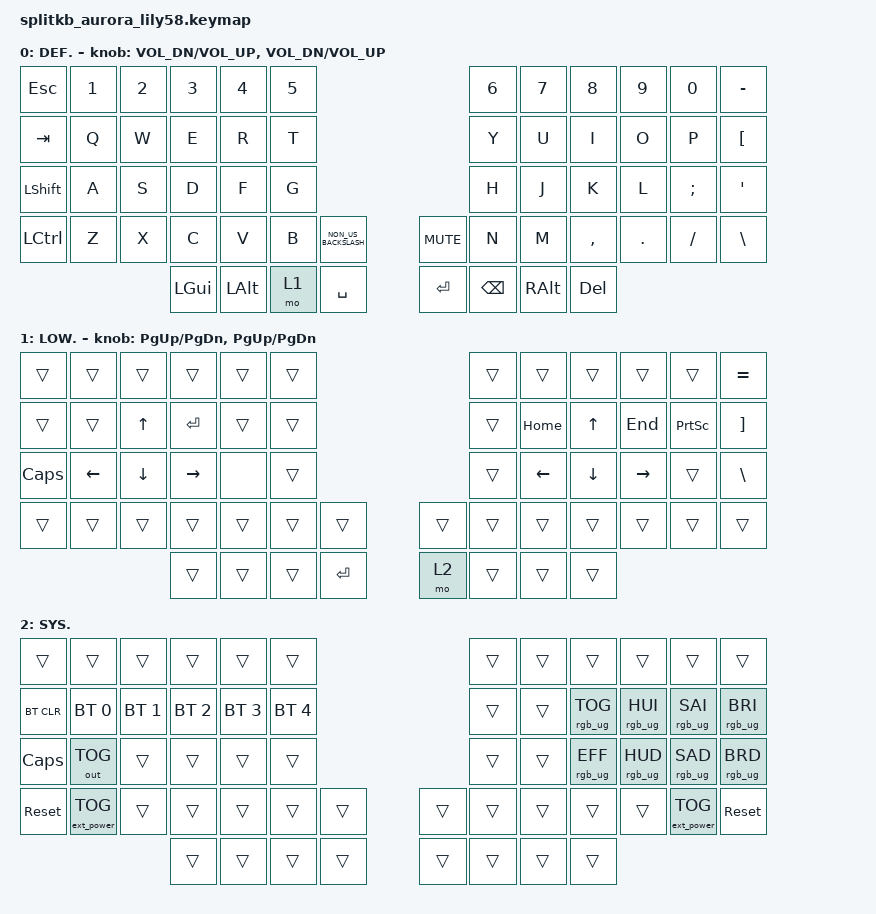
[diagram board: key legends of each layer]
/*
 * Copyright (c) 2022 The ZMK Contributors
 *
 * SPDX-License-Identifier: MIT
 */

#include <behaviors.dtsi>
#include <dt-bindings/zmk/keys.h>
#include <dt-bindings/zmk/bt.h>
#include <dt-bindings/zmk/ext_power.h>
#include <dt-bindings/zmk/rgb.h>
#include <dt-bindings/zmk/outputs.h>

&led_strip {
    chain-length = <40>;
};

&sensors {
    triggers-per-rotation = <40>;
};

&nice_view_spi {
    cs-gpios = <&pro_micro 0 GPIO_ACTIVE_HIGH>;  // use D0 for CS
};

/ {
    combos {
        compatible = "zmk,combos";
        
        // F-key combos - F+number on lower layer
        combo_f1 {
            timeout-ms = <200>;
            key-positions = <28 1>;  // F key + 1 key positions
            bindings = <&kp F1>;
            layers = <1>;
        };
        combo_f2 {
            timeout-ms = <200>;
            key-positions = <28 2>;  // F key + 2 key positions
            bindings = <&kp F2>;
            layers = <1>;
        };
        combo_f3 {
            timeout-ms = <200>;
            key-positions = <28 3>;  // F key + 3 key positions
            bindings = <&kp F3>;
            layers = <1>;
        };
        combo_f4 {
            timeout-ms = <200>;
            key-positions = <28 4>;  // F key + 4 key positions
            bindings = <&kp F4>;
            layers = <1>;
        };
        combo_f5 {
            timeout-ms = <200>;
            key-positions = <28 5>;  // F key + 5 key positions
            bindings = <&kp F5>;
            layers = <1>;
        };
        combo_f6 {
            timeout-ms = <200>;
            key-positions = <28 6>;  // F key + 6 key positions
            bindings = <&kp F6>;
            layers = <1>;
        };
        combo_f7 {
            timeout-ms = <200>;
            key-positions = <28 7>;  // F key + 7 key positions
            bindings = <&kp F7>;
            layers = <1>;
        };
        combo_f8 {
            timeout-ms = <200>;
            key-positions = <28 8>;  // F key + 8 key positions
            bindings = <&kp F8>;
            layers = <1>;
        };
        combo_f9 {
            timeout-ms = <200>;
            key-positions = <28 9>;  // F key + 9 key positions
            bindings = <&kp F9>;
            layers = <1>;
        };
        combo_f10 {
            timeout-ms = <200>;
            key-positions = <28 10>;  // F key + 0 key positions
            bindings = <&kp F10>;
            layers = <1>;
        };
        combo_f11 {
            timeout-ms = <200>;
            key-positions = <28 11>;  // F key + - key positions
            bindings = <&kp F11>;
            layers = <1>;
        };
        combo_f12 {
            timeout-ms = <200>;
            key-positions = <28 0>;  // F key + = key positions
            bindings = <&kp F12>;
            layers = <1>;
        };
    };

    keymap {
        compatible = "zmk,keymap";

            // ---------------------------------------------------------------------------------------------------------------------
            // |  ESC    |  1  |  2  |  3   |  4   |  5      |                     |  6   |  7    |  8    |  9   |  0    |   -     | 
            // |  TAB    |  Q  |  W  |  E   |  R   |  T      |                     |  Y   |  U    |  I    |  O   |   P   |   {     |
            // |  SHIFT  |  A  |  S  |  D   |  F   |  G      |                     |  H   |  J    |  K    |  L   |   ;   |   '     |
            // |  CTRL   |  Z  |  X   |  C  |  V   |  B      |   \    | - | C_MUTE |  N   |  M    |  ,    |  .   |   /   |   \     |
            //  ---------------------| GUI  |  ALT |  LAYER  |  SPACE | - | ENTER  | BSPC |  RALT | DEL   |-------------------------
        //                           ---------------------------------------------------------------------

        default_layer {
            display-name = "DEF.";
            bindings = <             
                &kp ESC     &kp N1       &kp N2     &kp N3     &kp N4     &kp N5                                         &kp N6     &kp N7            &kp N8     &kp N9     &kp N0             &kp MINUS        
                &kp TAB     &kp Q        &kp W      &kp E      &kp R      &kp T                                          &kp Y      &kp U             &kp I      &kp O      &kp P              &kp LBKT
                &kp LSHFT   &kp A        &kp S      &kp D      &kp F      &kp G                                          &kp H      &kp J             &kp K      &kp L      &kp SEMI           &kp SQT
                &kp LCTRL   &kp Z        &kp X      &kp C      &kp V      &kp B   &kp NON_US_BACKSLASH      &kp C_MUTE   &kp N      &kp M             &kp COMMA  &kp DOT    &kp FSLH           &kp BACKSLASH
                                                    &kp LGUI   &kp LALT   &mo 1   &kp SPACE                 &kp RET      &kp BSPC   &kp RIGHT_ALT     &kp DELETE
            >;
            sensor-bindings = <&inc_dec_kp C_VOL_DN C_VOL_UP &inc_dec_kp C_VOL_DN C_VOL_UP>;
        };
        // -------------------------------------------------------------------------------------------------------------------
        // |          |       |       |      |      |      |                     |      |      |      |      |        |   =   |
        // |          |       |   ↑   |ENTER |      |      |                     |      | HOME |   ↑  | END  | PSCRN  |   }   |
        // | CAPSLOCK |    ←  |   ↓   |  →   |      |      |                     |      |   ←  |   ↓  |  →   |        |   \   |
        // |          |       |       |      |      |      |        | - |        |      |      |      |      |        |       |
        //  --------------------------|      |      |      | ENTER  | - | LAYER  |      |      |      |------------------------
        //                            -----------------------------------------------------------------

        function_layer {
            display-name = "LOW.";
            bindings = <
                &trans       &trans      &trans      &trans        &trans         &trans                             &trans     &trans      &trans     &trans      &trans            &kp EQUAL
                &trans       &trans      &kp UP      &kp RET        &trans         &trans                             &trans     &kp HOME    &kp UP     &kp END     &kp PSCRN         &kp RBKT
                &kp CAPSLOCK &kp LEFT    &kp DOWN    &kp RIGHT     &none          &trans                             &trans     &kp LEFT    &kp DOWN   &kp RIGHT   &trans            &kp BACKSLASH
                &trans       &trans      &trans      &trans        &trans         &trans     &trans    &trans        &trans     &trans      &trans     &trans      &trans            &trans
                                                     &trans        &trans         &trans     &kp RET   &mo 2         &trans     &trans      &trans
            >;
            
            sensor-bindings = <&inc_dec_kp PG_UP PG_DN &inc_dec_kp PG_UP PG_DN>;
        };

        // -----------------------------------------------------------------------------------------------------------------
        // |      |       |       |      |      |      |                     |      |      |       |       |        |       |
        // | BTCLR| BT0   |  BT1  |  BT2 |  BT3 | BT4  |                     |      |      |RGB_TOG|RGB_HUI|RGB_SAI |RGB_BRI|
        // |      |OUT_TOG|       |      |      |      |                     |      |      |RGB_EFF|RGB_HUD|RGB_SAD |RGB_BRD|
        // |      |EP_TOG |       |      |      |      |        | - |        |      |      |       |       |EP_TOG  | RESET |
        // |----------------------|      |      |      |        | - |        |      |      |       |------------------------
        //                         -----------------------------------------------------------------
        system_layer {
            display-name = "SYS.";
            bindings = <
                &trans       &trans             &trans        &trans        &trans         &trans                            &trans     &trans    &trans           &trans           &trans            &trans
                &bt BT_CLR   &bt BT_SEL 0       &bt BT_SEL 1  &bt BT_SEL 2  &bt BT_SEL 3   &bt BT_SEL 4                      &trans     &trans    &rgb_ug RGB_TOG  &rgb_ug RGB_HUI  &rgb_ug RGB_SAI   &rgb_ug RGB_BRI
                &kp CAPSLOCK &out OUT_TOG       &trans        &trans        &trans         &trans                            &trans     &trans    &rgb_ug RGB_EFF  &rgb_ug RGB_HUD  &rgb_ug RGB_SAD   &rgb_ug RGB_BRD
                &sys_reset   &ext_power EP_TOG  &trans        &trans        &trans         &trans        &trans    &trans    &trans     &trans    &trans           &trans           &ext_power EP_TOG &sys_reset
                                                &trans        &trans        &trans         &trans        &trans    &trans    &trans     &trans
            >;
            
        };
    };
};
